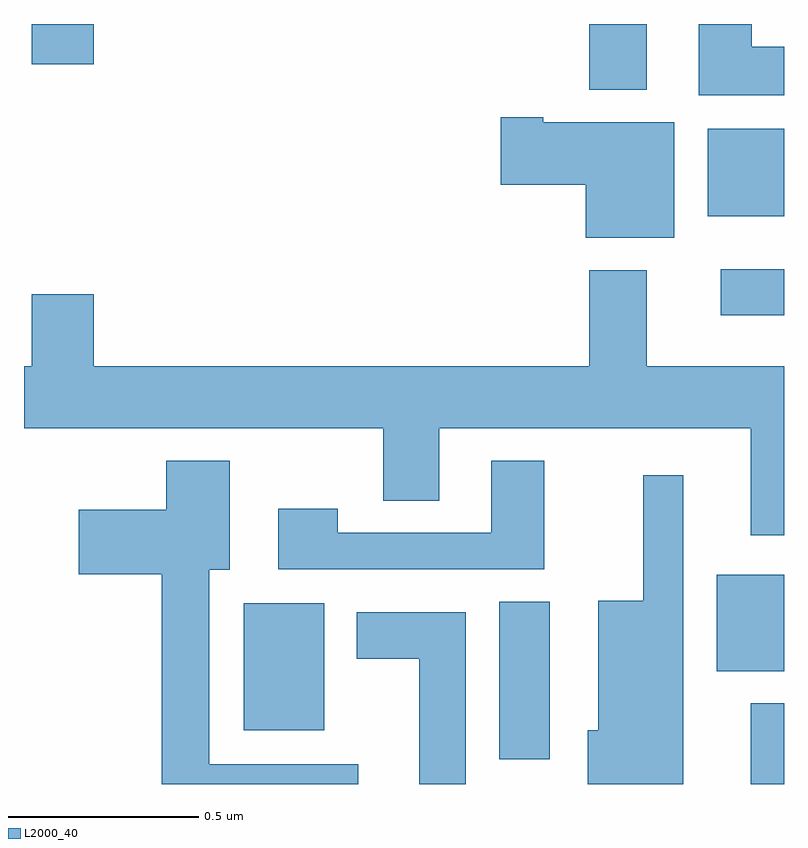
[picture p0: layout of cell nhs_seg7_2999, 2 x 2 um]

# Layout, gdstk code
import gdstk
lib = gdstk.Library(unit=1e-6, precision=1e-09)
def R(c, l, rs):  # rectangles x0, y0, x1, y1
    for r in rs: c.add(gdstk.rectangle(r[:2], r[2:], *l))
def P(c, l, *ps):  # polygons
    for p in ps: c.add(gdstk.Polygon(p, *l))
L2000_40 = (2000, 40)

nhs_seg7_2999 = lib.new_cell('nhs_seg7_2999')
R(nhs_seg7_2999, L2000_40, [(154.913,1013,155,1013.212), (154.25,1013.065,154.384,1013.48), (153.578,1013.141,153.79,1013.476), (154.823,1013.297,155,1013.551), (154.833,1014.233,155,1014.355), (154.799,1014.494,155,1014.724), (154.487,1014.827,154.639,1015), (153.02,1014.894,153.184,1015)])
P(nhs_seg7_2999, L2000_40, [(155,1014.94),(154.915,1014.94),(154.915,1015),(154.775,1015),(154.775,1014.812),(155,1014.812)],
  [(154.711,1014.742),(154.366,1014.742),(154.366,1014.755),(154.254,1014.755),(154.254,1014.577),(154.478,1014.577),(154.478,1014.437),(154.711,1014.437)],
  [(155,1014.1),(154.639,1014.1),(154.639,1014.352),(154.487,1014.352),(154.487,1014.1),(153.184,1014.1),(153.184,1014.289),(153.02,1014.289),(153.02,1014.1),(153,1014.1),(153,1013.936),(153.946,1013.936),(153.946,1013.746),(154.093,1013.746),(154.093,1013.936),(154.913,1013.936),(154.913,1013.655),(155,1013.655)],
  [(153.88,1013.052),(153.487,1013.052),(153.487,1013.564),(153.541,1013.564),(153.541,1013.851),(153.374,1013.851),(153.374,1013.722),(153.144,1013.722),(153.144,1013.552),(153.362,1013.552),(153.362,1013),(153.88,1013)],
  [(154.369,1013.851),(154.229,1013.851),(154.229,1013.661),(153.825,1013.661),(153.825,1013.725),(153.669,1013.725),(153.669,1013.565),(154.369,1013.565)],
  [(154.735,1013.812),(154.629,1013.812),(154.629,1013.482),(154.511,1013.482),(154.511,1013.142),(154.484,1013.142),(154.484,1013),(154.735,1013)],
  [(154.162,1013.452),(153.875,1013.452),(153.875,1013.33),(154.04,1013.33),(154.04,1013),(154.162,1013)])

lib.write_gds('nhs_seg7_2999.gds')
